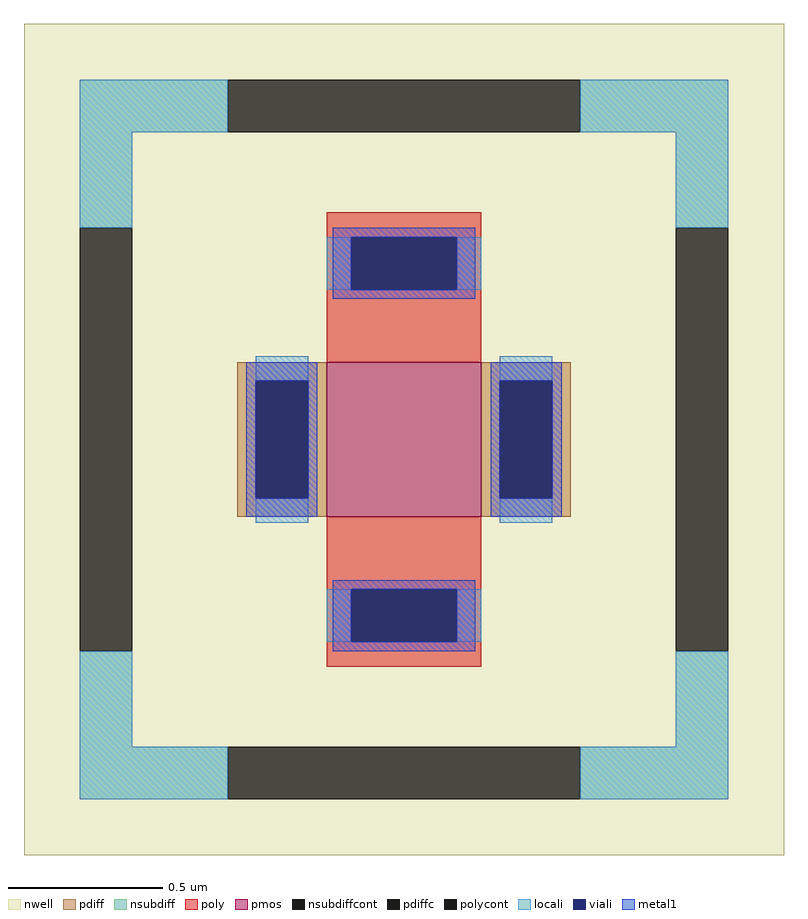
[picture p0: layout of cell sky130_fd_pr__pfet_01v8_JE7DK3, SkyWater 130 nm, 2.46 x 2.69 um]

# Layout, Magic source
magic
tech sky130A
magscale 1 2
<< nwell >>
rect -246 -269 246 269
<< pmos >>
rect -50 -50 50 50
<< pdiff >>
rect -108 38 -50 50
rect -108 -38 -96 38
rect -62 -38 -50 38
rect -108 -50 -50 -38
rect 50 38 108 50
rect 50 -38 62 38
rect 96 -38 108 38
rect 50 -50 108 -38
<< pdiffc >>
rect -96 -38 -62 38
rect 62 -38 96 38
<< nsubdiff >>
rect -210 199 -114 233
rect 114 199 210 233
rect -210 137 -176 199
rect 176 137 210 199
rect -210 -199 -176 -137
rect 176 -199 210 -137
rect -210 -233 -114 -199
rect 114 -233 210 -199
<< nsubdiffcont >>
rect -114 199 114 233
rect -210 -137 -176 137
rect 176 -137 210 137
rect -114 -233 114 -199
<< poly >>
rect -50 131 50 147
rect -50 97 -34 131
rect 34 97 50 131
rect -50 50 50 97
rect -50 -97 50 -50
rect -50 -131 -34 -97
rect 34 -131 50 -97
rect -50 -147 50 -131
<< polycont >>
rect -34 97 34 131
rect -34 -131 34 -97
<< locali >>
rect -210 199 -114 233
rect 114 199 210 233
rect -210 137 -176 199
rect 176 137 210 199
rect -50 97 -34 131
rect 34 97 50 131
rect -96 38 -62 54
rect -96 -54 -62 -38
rect 62 38 96 54
rect 62 -54 96 -38
rect -50 -131 -34 -97
rect 34 -131 50 -97
rect -210 -199 -176 -137
rect 176 -199 210 -137
rect -210 -233 -114 -199
rect 114 -233 210 -199
<< viali >>
rect -34 97 34 131
rect -96 -38 -62 38
rect 62 -38 96 38
rect -34 -131 34 -97
<< metal1 >>
rect -46 131 46 137
rect -46 97 -34 131
rect 34 97 46 131
rect -46 91 46 97
rect -102 38 -56 50
rect -102 -38 -96 38
rect -62 -38 -56 38
rect -102 -50 -56 -38
rect 56 38 102 50
rect 56 -38 62 38
rect 96 -38 102 38
rect 56 -50 102 -38
rect -46 -97 46 -91
rect -46 -131 -34 -97
rect 34 -131 46 -97
rect -46 -137 46 -131
<< properties >>
string FIXED_BBOX -193 -216 193 216
string gencell sky130_fd_pr__pfet_01v8
string library sky130
string parameters w 0.5 l 0.5 m 1 nf 1 diffcov 100 polycov 100 guard 1 glc 1 grc 1 gtc 1 gbc 1 tbcov 100 rlcov 100 topc 1 botc 1 poverlap 0 doverlap 1 lmin 0.15 wmin 0.42 class mosfet compatible {sky130_fd_pr__pfet_01v8  sky130_fd_pr__pfet_01v8_lvt sky130_fd_pr__pfet_01v8_hvt  sky130_fd_pr__pfet_g5v0d10v5} full_metal 1 viasrc 100 viadrn 100 viagate 100 viagb 0 viagr 0 viagl 0 viagt 0
<< end >>
